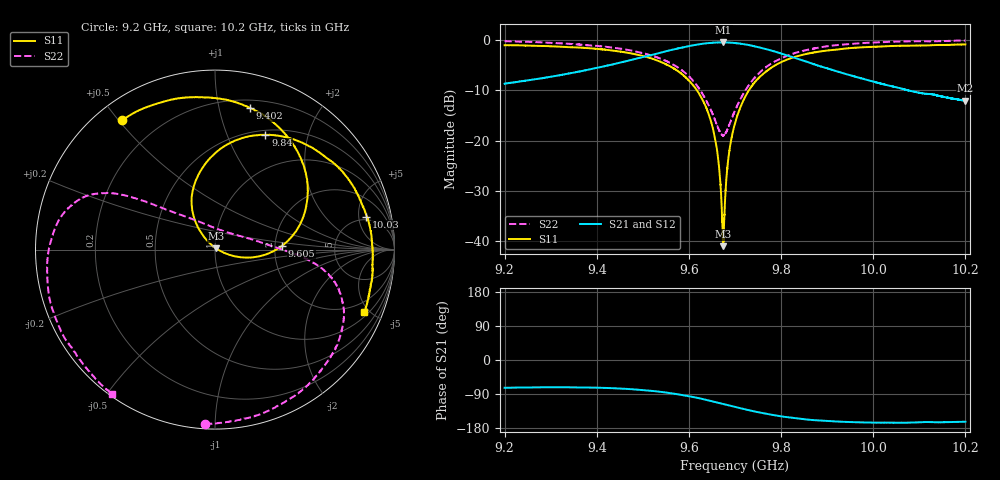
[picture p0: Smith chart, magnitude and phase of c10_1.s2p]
!Agilent Technologies,N5242A,MY51221714,A.09.90.19
!Agilent N5242A: A.09.90.19
!Date: Saturday, December 30, 2023 10:37:28
!Correction: S11(Full 2 Port(1,2))
!S21(Full 2 Port(1,2))
!S12(Full 2 Port(1,2))
!S22(Full 2 Port(1,2))
!S2P File: Measurements: S11, S21, S12, S22:
# Hz S  dB  R 50
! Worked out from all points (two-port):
!   16001 points, 9.2 GHz to 10.2 GHz, reference 50 ohm
!   highest |S21| = -0.49 dB at 9.675 GHz (marker M1); lowest = -12.1 dB at 10.2 GHz (marker M2)
!   |S21| within 3 dB of the highest: 9.497 GHz to 9.827 GHz (330.4 MHz wide, 3.42 % of centre); 9.826963 GHz to 9.827075 GHz (111.8 kHz wide, 0.00114 % of centre)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
!   lowest |S11| = -40.9 dB at 9.674 GHz (marker M3), VSWR 1.02, Z = 50.6 + j0.704 ohm
!   |S11| at or under -10 dB: 9.617 GHz to 9.73 GHz (112.7 MHz wide, 1.17 % of centre)
!   |S22| runs from -19.0 to -0.1 dB; largest |S21 - S12| = 0.015
!   S11 on the Smith chart (normalised r, x): 9.2 GHz: 0.08, +0.51; 9.402 GHz: 0.26, +1.24; 9.605 GHz: 2.18, +0.10; 9.84 GHz: 0.55, +1.38; 10.03 GHz: 4.36, +6.32; 10.2 GHz: 1.26, -4.68
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9.2e9  -1.05 125.7  -8.68 -73.3  -8.65 -74.1  -0.24 -93.1
9.278e9  -1.20 107.7  -7.66 -72.0  -7.63 -72.7  -0.48 -71.9
9.366688e9  -1.55 85.7  -6.19 -72.2  -6.18 -73.0  -0.96 -48.9
9.401625e9  -1.79 76.3  -5.51 -73.0  -5.50 -73.8  -1.19 -40.1
9.533375e9  -4.16 33.5  -2.65 -83.2  -2.64 -83.9  -3.54 -13.4
9.60525e9  -8.58 3.0  -1.14 -96.7  -1.12 -97.5  -7.71 -1.6
9.632438e9  -12.44 -9.3  -0.73 -103.7  -0.73 -104.5  -11.19 7.0
9.652062e9  -17.61 -17.9  -0.57 -109.3  -0.55 -110.0  -14.86 22.0
9.663125e9  -23.37 -19.8  -0.51 -112.5  -0.50 -113.2  -17.43 39.9
9.67125e9  -33.50 -6.0  -0.50 -115.0  -0.48 -115.6  -18.80 61.8
9.674375e9  -40.93 50.8  -0.49 -115.9  -0.49 -116.5  -18.93 71.7
9.674875e9  -39.53 68.4  -0.49 -116.1  -0.48 -116.8  -18.94 73.6
9.686375e9  -22.96 130.6  -0.54 -119.5  -0.51 -120.3  -17.09 105.3
9.7e9  -16.58 127.7  -0.62 -123.7  -0.60 -124.4  -14.03 124.1
9.748812e9  -7.80 104.6  -1.40 -137.4  -1.39 -138.1  -6.90 144.7
9.839938e9  -3.11 66.3  -3.85 -155.0  -3.86 -155.7  -2.35 156.5
9.866688e9  -2.57 57.0  -4.68 -158.2  -4.67 -159.0  -1.78 160.5
9.950062e9  -1.63 32.5  -7.01 -163.8  -7.00 -164.5  -0.81 175.7
1.00315e10  -1.27 12.3  -9.02 -165.4  -9.02 -166.1  -0.40 -166.6
1.003338e10  -1.25 11.9  -9.05 -165.3  -9.03 -166.2  -0.38 -166.2
1.019925e10  -0.91 -22.4  -12.08 -162.9  -12.06 -163.9  -0.12 -125.6
1.02e10  -0.90 -22.6  -12.07 -163.0  -12.07 -163.9  -0.12 -125.4
